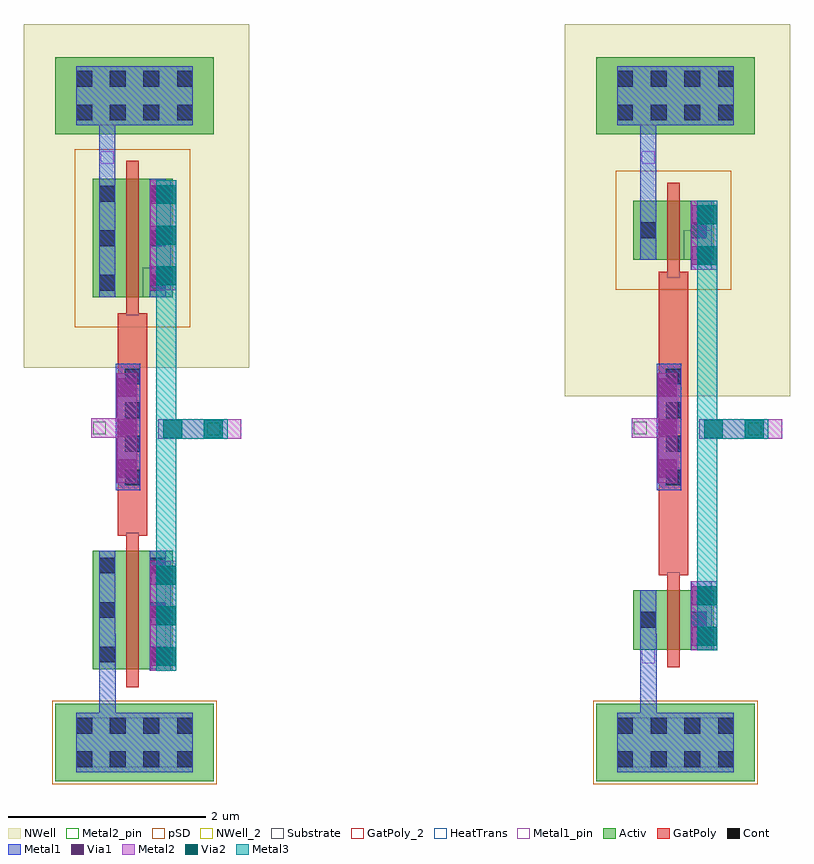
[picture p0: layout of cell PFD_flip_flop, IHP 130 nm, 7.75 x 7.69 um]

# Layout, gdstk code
import gdstk
lib = gdstk.Library(unit=1e-6, precision=1e-09)
def R(c, l, rs):  # rectangles x0, y0, x1, y1
    for r in rs: c.add(gdstk.rectangle(r[:2], r[2:], *l))
def A(c, l, x, y, w, h, nx, ny, dx, dy):  # array of equal rectangles
    R(c, l, [(x+i*dx, y+j*dy, x+i*dx+w, y+j*dy+h) for i in range(nx) for j in range(ny)])
Activ = (1, 0)
GatPoly = (5, 0)
GatPoly_2 = (5, 2)
Cont = (6, 0)
Metal1 = (8, 0)
Metal1_pin = (8, 2)
Metal2 = (10, 0)
Metal2_pin = (10, 2)
pSD = (14, 0)
Via1 = (19, 0)
Via2 = (29, 0)
Metal3 = (30, 0)
NWell = (31, 0)
NWell_2 = (31, 2)
Substrate = (40, 0)
HeatTrans = (51, 0)

via_2 = lib.new_cell('Via$2')
R(via_2, Metal2, [(-0.1,-0.35,0.1,0.35)])
R(via_2, Via2, [(-0.095,-0.3,0.095,-0.11), (-0.095,0.11,0.095,0.3)])
R(via_2, Metal3, [(-0.1,-0.35,0.1,0.35)])

via = lib.new_cell('Via')
R(via, Metal1, [(-0.105,-0.35,0.105,0.35)])
R(via, Metal2, [(-0.1,-0.35,0.1,0.35)])
R(via, Via1, [(-0.095,-0.3,0.095,-0.11), (-0.095,0.11,0.095,0.3)])

via_6 = lib.new_cell('Via$6')
R(via_6, Metal1, [(-0.105,-0.555,0.105,0.555)])
R(via_6, Metal2, [(-0.1,-0.555,0.1,0.555)])
A(via_6, Via1, -0.095, -0.505, 0.19, 0.19, 1, 3, 0, 0.41)

via_7 = lib.new_cell('Via$7')
R(via_7, Metal2, [(-0.35,-0.1,0.35,0.1)])
R(via_7, Via2, [(-0.3,-0.095,-0.11,0.095), (0.11,-0.095,0.3,0.095)])
R(via_7, Metal3, [(-0.35,-0.1,0.35,0.1)])

ntap1 = lib.new_cell('ntap1')
R(ntap1, Activ, [(0,0,1.6,0.78)])
A(ntap1, Cont, 0.21, 0.14, 0.16, 0.16, 4, 2, 0.34, 0.34)
R(ntap1, Metal1, [(0.21,0.09,1.39,0.69)])
R(ntap1, Metal1_pin, [(0.21,0.09,1.39,0.69), (0.21,0.14,1.39,0.64)])
R(ntap1, NWell, [(-0.24,-0.24,1.84,1.02), (0,0,1.6,0.78)])
R(ntap1, NWell_2, [(0,0,1.6,0.78)])
ntap1.add(gdstk.Label('well', (0.8,0.01), layer=63, texttype=0))
ntap1.add(gdstk.Label('well', (0.8,0.01), layer=31, texttype=0))

ptap1 = lib.new_cell('ptap1')
R(ptap1, Activ, [(0,0,1.6,0.78)])
A(ptap1, Cont, 0.21, 0.14, 0.16, 0.16, 4, 2, 0.34, 0.34)
R(ptap1, Metal1, [(0.21,0.09,1.39,0.69), (0.21,0.14,1.39,0.64)])
R(ptap1, Metal1_pin, [(0.21,0.14,1.39,0.64)])
R(ptap1, pSD, [(-0.03,-0.03,1.63,0.81)])
R(ptap1, Substrate, [(0,0,1.6,0.78)])
ptap1.add(gdstk.Label('sub!', (0.8,0.01), layer=63, texttype=0))
ptap1.add(gdstk.Label('sub!', (0.8,0.01), layer=40, texttype=0))

nmos = lib.new_cell('nmos')
R(nmos, Activ, [(0,0,0.3,0.3), (0,0,0.81,0.6), (0.51,0,0.81,0.3)])
R(nmos, GatPoly, [(0.34,-0.18,0.47,0.78)])
R(nmos, GatPoly_2, [(0.34,-0.18,0.47,0.78)])
R(nmos, Cont, [(0.07,0.22,0.23,0.38), (0.58,0.22,0.74,0.38)])
R(nmos, Metal1, [(0.07,0,0.23,0.6), (0.58,0,0.74,0.6)])
R(nmos, Metal1_pin, [(0.07,0,0.23,0.6), (0.58,0,0.74,0.6)])
R(nmos, HeatTrans, [(0.34,-0.18,0.47,0.78)])
nmos.add(gdstk.Label('nmos', (0.405,0.3), layer=63, texttype=0))
nmos.add(gdstk.Label('nmos', (0.405,0.3), layer=51, texttype=0))

pmos = lib.new_cell('pmos')
R(pmos, Activ, [(0,0,0.3,0.3), (0,0,0.81,0.6), (0.51,0,0.81,0.3)])
R(pmos, GatPoly, [(0.34,-0.18,0.47,0.78), (0.34,-0.18,0.47,0.78)])
R(pmos, Cont, [(0.07,0.22,0.23,0.38), (0.58,0.22,0.74,0.38)])
R(pmos, Metal1, [(0.07,0,0.23,0.6), (0.07,0,0.23,0.6), (0.58,0,0.74,0.6), (0.58,0,0.74,0.6)])
R(pmos, pSD, [(-0.18,-0.3,0.99,0.9)])
R(pmos, NWell, [(-0.31,-0.31,1.12,0.91)])
R(pmos, Substrate, [(0.51,0,0.81,0.3)])
R(pmos, HeatTrans, [(0.34,-0.18,0.47,0.78)])
pmos.add(gdstk.Label('pmos', (0.405,0.3), layer=63, texttype=0))
pmos.add(gdstk.Label('pmos', (0.405,0.3), layer=51, texttype=0))

via_5 = lib.new_cell('Via$5')
R(via_5, GatPoly, [(-0.15,-0.66,0.15,0.66)])
A(via_5, Cont, -0.08, -0.59, 0.16, 0.16, 1, 4, 0, 0.34)
R(via_5, Metal1, [(-0.08,-0.64,0.08,0.64)])

inverter_x4 = lib.new_cell('inverter_x4')
R(inverter_x4, GatPoly, [(-0.265,-2.855,-0.135,-2.655), (-0.35,-2.65,-0.05,-1.81), (-0.35,-0.49,-0.05,0.42)])
R(inverter_x4, Metal1, [(-0.535,-4.45,-0.37,-3.805), (-0.535,-3.805,-0.37,-3.24), (-0.37,-1.79,-0.35,-0.51), (-0.35,-1.79,-0.28,-0.51), (-0.535,0.96,-0.375,1.26), (-0.535,1.245,-0.375,2.235)])
R(inverter_x4, Metal1_pin, [(-0.52,-3.54,-0.39,-3.41), (-0.52,1.51,-0.39,1.64)])
R(inverter_x4, Metal2, [(-0.02,-3.41,0.24,-2.71), (0.53,-1.27,0.9,-1.07), (-0.62,-1.26,-0.28,-1.06), (-0.02,0.44,0.24,1.14)])
R(inverter_x4, Metal2_pin, [(0.555,-1.235,0.685,-1.105), (-0.6,-1.225,-0.47,-1.095)])
R(inverter_x4, Metal3, [(0.04,-3.09,0.24,-2.63), (0.04,-2.7,0.24,-0.24), (0.04,-0.34,0.24,0.76)])
R(inverter_x4, NWell, [(-1.3,-0.84,0.98,0.14), (-1.3,0.14,0.98,0.655), (-1.3,0.655,0.755,2.925), (0.755,0.655,0.98,2.925)])
inverter_x4.add(gdstk.Reference(via_2, (0.14,-3.06)))
inverter_x4.add(gdstk.Reference(via, (0.08,-3.06)))
inverter_x4.add(gdstk.Reference(via_6, (-0.26,-1.16)))
inverter_x4.add(gdstk.Reference(via_7, (0.41,-1.17)))
inverter_x4.add(gdstk.Reference(via_2, (0.14,0.79)))
inverter_x4.add(gdstk.Reference(via, (0.08,0.79)))
inverter_x4.add(gdstk.Reference(ntap1, (-0.98,1.81)))
inverter_x4.add(gdstk.Reference(ptap1, (-0.98,-4.73)))
inverter_x4.add(gdstk.Reference(nmos, (-0.605,-3.4)))
inverter_x4.add(gdstk.Reference(pmos, (-0.605,0.54)))
inverter_x4.add(gdstk.Reference(via_5, (-0.2,-1.15)))
inverter_x4.add(gdstk.Label('GND', (-0.455,-3.47), layer=8, texttype=25))
inverter_x4.add(gdstk.Label('VP', (-0.455,1.57), layer=8, texttype=25))
inverter_x4.add(gdstk.Label('OUT', (0.62,-1.17), layer=10, texttype=25))
inverter_x4.add(gdstk.Label('IN', (-0.54,-1.16), layer=10, texttype=25))

via_3 = lib.new_cell('Via$3')
R(via_3, Metal2, [(-0.1,-0.555,0.1,0.555)])
A(via_3, Via2, -0.095, -0.505, 0.19, 0.19, 1, 3, 0, 0.41)
R(via_3, Metal3, [(-0.1,-0.555,0.1,0.555)])

via_2_1 = lib.new_cell('Via$2$1')
R(via_2_1, Metal1, [(-0.105,-0.555,0.105,0.555)])
R(via_2_1, Metal2, [(-0.1,-0.555,0.1,0.555)])
A(via_2_1, Via1, -0.095, -0.505, 0.19, 0.19, 1, 3, 0, 0.41)

via_3_1 = lib.new_cell('Via$3$1')
R(via_3_1, Metal2, [(-0.35,-0.1,0.35,0.1)])
R(via_3_1, Via2, [(-0.3,-0.095,-0.11,0.095), (0.11,-0.095,0.3,0.095)])
R(via_3_1, Metal3, [(-0.35,-0.1,0.35,0.1)])

ntap1_1 = lib.new_cell('ntap1$1')
R(ntap1_1, Activ, [(0,0,1.6,0.78)])
A(ntap1_1, Cont, 0.21, 0.14, 0.16, 0.16, 4, 2, 0.34, 0.34)
R(ntap1_1, Metal1, [(0.21,0.09,1.39,0.69)])
R(ntap1_1, Metal1_pin, [(0.21,0.09,1.39,0.69), (0.21,0.14,1.39,0.64)])
R(ntap1_1, NWell, [(-0.24,-0.24,1.84,1.02), (0,0,1.6,0.78)])
R(ntap1_1, NWell_2, [(0,0,1.6,0.78)])
ntap1_1.add(gdstk.Label('well', (0.8,0.01), layer=63, texttype=0))
ntap1_1.add(gdstk.Label('well', (0.8,0.01), layer=31, texttype=0))

ptap1_1 = lib.new_cell('ptap1$1')
R(ptap1_1, Activ, [(0,0,1.6,0.78)])
A(ptap1_1, Cont, 0.21, 0.14, 0.16, 0.16, 4, 2, 0.34, 0.34)
R(ptap1_1, Metal1, [(0.21,0.09,1.39,0.69), (0.21,0.14,1.39,0.64)])
R(ptap1_1, Metal1_pin, [(0.21,0.14,1.39,0.64)])
R(ptap1_1, pSD, [(-0.03,-0.03,1.63,0.81)])
R(ptap1_1, Substrate, [(0,0,1.6,0.78)])
ptap1_1.add(gdstk.Label('sub!', (0.8,0.01), layer=63, texttype=0))
ptap1_1.add(gdstk.Label('sub!', (0.8,0.01), layer=40, texttype=0))

nmos_1 = lib.new_cell('nmos$1')
R(nmos_1, Activ, [(0,0,0.3,0.3), (0,0,0.81,1.2), (0.51,0,0.81,0.3)])
R(nmos_1, GatPoly, [(0.34,-0.18,0.47,1.38)])
R(nmos_1, GatPoly_2, [(0.34,-0.18,0.47,1.38)])
A(nmos_1, Cont, 0.07, 0.07, 0.16, 0.16, 1, 3, 0, 0.45)
A(nmos_1, Cont, 0.58, 0.07, 0.16, 0.16, 1, 3, 0, 0.45)
R(nmos_1, Metal1, [(0.07,0,0.23,1.2), (0.58,0,0.74,1.2)])
R(nmos_1, Metal1_pin, [(0.07,0,0.23,1.2), (0.58,0,0.74,1.2)])
R(nmos_1, HeatTrans, [(0.34,-0.18,0.47,1.38)])
nmos_1.add(gdstk.Label('nmos', (0.405,0.6), layer=63, texttype=0))
nmos_1.add(gdstk.Label('nmos', (0.405,0.6), layer=51, texttype=0))

pmos_1 = lib.new_cell('pmos$1')
R(pmos_1, Activ, [(0,0,0.3,0.3), (0,0,0.81,1.2), (0.51,0,0.81,0.3)])
R(pmos_1, GatPoly, [(0.34,-0.18,0.47,1.38), (0.34,-0.18,0.47,1.38)])
A(pmos_1, Cont, 0.07, 0.07, 0.16, 0.16, 1, 3, 0, 0.45)
A(pmos_1, Cont, 0.58, 0.07, 0.16, 0.16, 1, 3, 0, 0.45)
R(pmos_1, Metal1, [(0.07,0,0.23,1.2), (0.07,0,0.23,1.2), (0.58,0,0.74,1.2), (0.58,0,0.74,1.2)])
R(pmos_1, pSD, [(-0.18,-0.3,0.99,1.5)])
R(pmos_1, NWell, [(-0.31,-0.31,1.12,1.51)])
R(pmos_1, Substrate, [(0.51,0,0.81,0.3)])
R(pmos_1, HeatTrans, [(0.34,-0.18,0.47,1.38)])
pmos_1.add(gdstk.Label('pmos', (0.405,0.6), layer=63, texttype=0))
pmos_1.add(gdstk.Label('pmos', (0.405,0.6), layer=51, texttype=0))

via_4 = lib.new_cell('Via$4')
R(via_4, GatPoly, [(-0.15,-0.66,0.15,0.66)])
A(via_4, Cont, -0.08, -0.59, 0.16, 0.16, 1, 4, 0, 0.34)
R(via_4, Metal1, [(-0.08,-0.64,0.08,0.64)])

inverter_x8 = lib.new_cell('inverter_x8')
R(inverter_x8, GatPoly, [(-0.265,-2.855,-0.135,-2.655), (-0.35,-2.25,-0.05,-1.81), (-0.35,-0.49,-0.05,0)])
R(inverter_x8, Metal1, [(-0.535,-4.45,-0.37,-3.805), (-0.535,-3.805,-0.37,-3.24), (-0.37,-1.79,-0.35,-0.51), (-0.35,-1.79,-0.28,-0.51), (-0.535,0.96,-0.375,1.26), (-0.535,1.245,-0.375,2.235)])
R(inverter_x8, Metal1_pin, [(-0.52,-3.54,-0.39,-3.41), (-0.52,1.51,-0.39,1.64)])
R(inverter_x8, Metal2, [(0.53,-1.27,0.9,-1.07), (-0.62,-1.26,-0.28,-1.06)])
R(inverter_x8, Metal2_pin, [(0.555,-1.235,0.685,-1.105), (-0.6,-1.225,-0.47,-1.095)])
R(inverter_x8, Metal3, [(0.04,-3.09,0.24,-2.63), (0.04,-2.7,0.24,-0.24), (0.04,-0.34,0.24,0.76)])
R(inverter_x8, NWell, [(-1.3,-0.55,0.98,0.655), (-1.3,0.655,0.755,2.925), (0.755,0.655,0.98,2.925)])
inverter_x8.add(gdstk.Reference(via_3, (0.14,-3.06)))
inverter_x8.add(gdstk.Reference(via_2_1, (0.08,-3.06)))
inverter_x8.add(gdstk.Reference(via_2_1, (-0.26,-1.16)))
inverter_x8.add(gdstk.Reference(via_3_1, (0.41,-1.17)))
inverter_x8.add(gdstk.Reference(via_3, (0.14,0.79)))
inverter_x8.add(gdstk.Reference(via_2_1, (0.08,0.79)))
inverter_x8.add(gdstk.Reference(ntap1_1, (-0.98,1.81)))
inverter_x8.add(gdstk.Reference(ptap1_1, (-0.98,-4.73)))
inverter_x8.add(gdstk.Reference(nmos_1, (-0.605,-3.6)))
inverter_x8.add(gdstk.Reference(pmos_1, (-0.605,0.16)))
inverter_x8.add(gdstk.Reference(via_4, (-0.2,-1.15)))
inverter_x8.add(gdstk.Label('GND', (-0.455,-3.47), layer=8, texttype=25))
inverter_x8.add(gdstk.Label('VP', (-0.455,1.57), layer=8, texttype=25))
inverter_x8.add(gdstk.Label('OUT', (0.62,-1.17), layer=10, texttype=25))
inverter_x8.add(gdstk.Label('IN', (-0.54,-1.16), layer=10, texttype=25))

pfd_flip_flop = lib.new_cell('PFD_flip_flop')
pfd_flip_flop.add(gdstk.Reference(inverter_x4, (0,0)))
pfd_flip_flop.add(gdstk.Reference(inverter_x8, (-5.47,0)))

lib.write_gds('PFD_flip_flop.gds')
